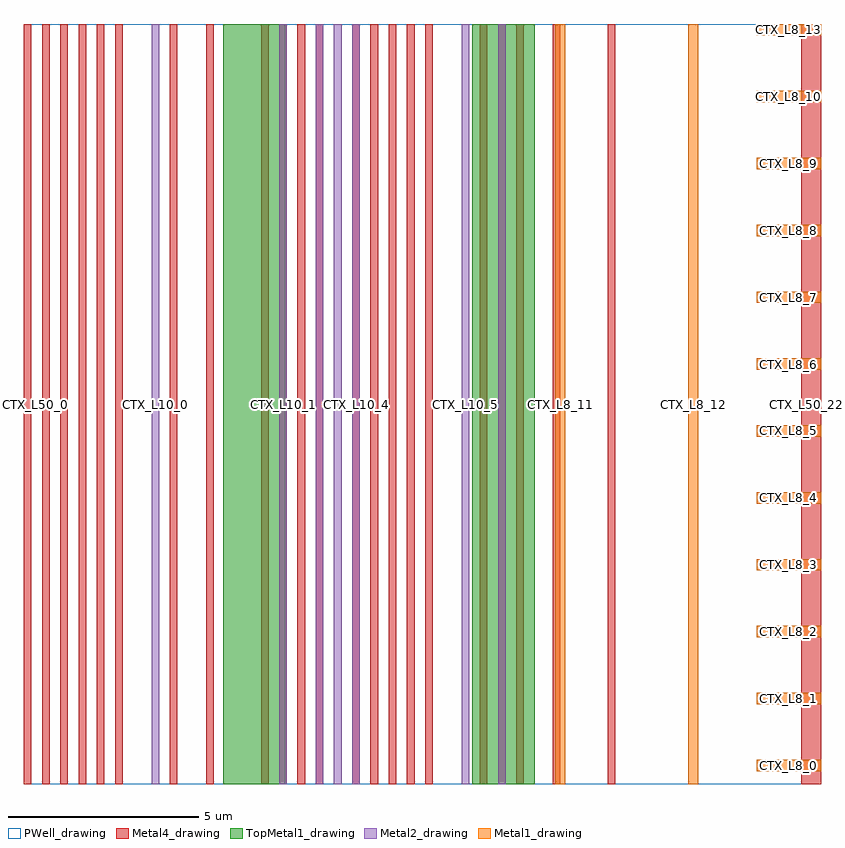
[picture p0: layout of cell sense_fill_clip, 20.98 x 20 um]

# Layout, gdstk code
import gdstk
lib = gdstk.Library(unit=1e-6, precision=1e-09)
def R(c, l, rs):  # rectangles x0, y0, x1, y1
    for r in rs: c.add(gdstk.rectangle(r[:2], r[2:], *l))
def A(c, l, x, y, w, h, nx, ny, dx, dy):  # array of equal rectangles
    R(c, l, [(x+i*dx, y+j*dy, x+i*dx+w, y+j*dy+h) for i in range(nx) for j in range(ny)])
Metal1_drawing = (8, 0)
Metal2_drawing = (10, 0)
PWell_drawing = (46, 0)
Metal4_drawing = (50, 0)
TopMetal1_drawing = (126, 0)

sense_fill_clip = lib.new_cell('sense_fill_clip')
A(sense_fill_clip, Metal1_drawing, 743.02, 696.15, 1.7, 0.3, 1, 12, 0, 1.76)
R(sense_fill_clip, Metal1_drawing, [(737.72,695.81,737.98,715.81), (741.22,695.81,741.48,715.81)])
A(sense_fill_clip, Metal2_drawing, 731.42, 695.81, 0.2, 20, 3, 1, 0.48, 0)
R(sense_fill_clip, Metal2_drawing, [(727.1,695.81,727.3,715.81), (730.46,695.81,730.66,715.81), (735.26,695.81,735.46,715.81), (736.22,695.81,736.42,715.81)])
R(sense_fill_clip, PWell_drawing, [(723.74,695.81,744.72,715.81), (723.74,695.81,744.72,715.81)])
A(sense_fill_clip, Metal4_drawing, 723.74, 695.81, 0.2, 20, 6, 1, 0.48, 0)
A(sense_fill_clip, Metal4_drawing, 729.98, 695.81, 0.2, 20, 4, 1, 0.48, 0)
A(sense_fill_clip, Metal4_drawing, 732.38, 695.81, 0.2, 20, 5, 1, 0.48, 0)
A(sense_fill_clip, Metal4_drawing, 735.74, 695.81, 0.2, 20, 3, 1, 0.48, 0)
R(sense_fill_clip, Metal4_drawing, [(727.58,695.81,727.78,715.81), (728.54,695.81,728.74,715.81), (737.66,695.81,737.86,715.81), (739.1,695.81,739.3,715.81), (744.2,695.81,744.72,715.81)])
R(sense_fill_clip, TopMetal1_drawing, [(728.98,695.81,730.62,715.81), (735.54,695.81,737.18,715.81)])
sense_fill_clip.add(gdstk.Label('CTX_L8_13', (743.87,715.66), layer=8, texttype=25))
sense_fill_clip.add(gdstk.Label('CTX_L8_0', (743.87,696.3), layer=8, texttype=25))
sense_fill_clip.add(gdstk.Label('CTX_L8_1', (743.87,698.06), layer=8, texttype=25))
sense_fill_clip.add(gdstk.Label('CTX_L8_2', (743.87,699.82), layer=8, texttype=25))
sense_fill_clip.add(gdstk.Label('CTX_L8_3', (743.87,701.58), layer=8, texttype=25))
sense_fill_clip.add(gdstk.Label('CTX_L8_4', (743.87,703.34), layer=8, texttype=25))
sense_fill_clip.add(gdstk.Label('CTX_L8_9', (743.87,712.14), layer=8, texttype=25))
sense_fill_clip.add(gdstk.Label('CTX_L8_7', (743.87,708.62), layer=8, texttype=25))
sense_fill_clip.add(gdstk.Label('CTX_L8_5', (743.87,705.1), layer=8, texttype=25))
sense_fill_clip.add(gdstk.Label('CTX_L8_6', (743.87,706.86), layer=8, texttype=25))
sense_fill_clip.add(gdstk.Label('CTX_L8_8', (743.87,710.38), layer=8, texttype=25))
sense_fill_clip.add(gdstk.Label('CTX_L8_10', (743.87,713.9), layer=8, texttype=25))
sense_fill_clip.add(gdstk.Label('CTX_L8_11', (737.85,705.81), layer=8, texttype=25))
sense_fill_clip.add(gdstk.Label('CTX_L8_12', (741.35,705.81), layer=8, texttype=25))
sense_fill_clip.add(gdstk.Label('CTX_L10_4', (732.48,705.81), layer=10, texttype=25))
sense_fill_clip.add(gdstk.Label('CTX_L10_5', (735.36,705.81), layer=10, texttype=25))
sense_fill_clip.add(gdstk.Label('CTX_L10_3', (732,705.81), layer=10, texttype=25))
sense_fill_clip.add(gdstk.Label('CTX_L10_2', (731.52,705.81), layer=10, texttype=25))
sense_fill_clip.add(gdstk.Label('CTX_L10_1', (730.56,705.81), layer=10, texttype=25))
sense_fill_clip.add(gdstk.Label('CTX_L10_6', (736.32,705.81), layer=10, texttype=25))
sense_fill_clip.add(gdstk.Label('CTX_L10_0', (727.2,705.81), layer=10, texttype=25))
sense_fill_clip.add(gdstk.Label('CTX_L50_19', (736.8,705.81), layer=50, texttype=25))
sense_fill_clip.add(gdstk.Label('CTX_L50_18', (736.32,705.81), layer=50, texttype=25))
sense_fill_clip.add(gdstk.Label('CTX_L50_17', (735.84,705.81), layer=50, texttype=25))
sense_fill_clip.add(gdstk.Label('CTX_L50_21', (739.2,705.81), layer=50, texttype=25))
sense_fill_clip.add(gdstk.Label('CTX_L50_16', (734.4,705.81), layer=50, texttype=25))
sense_fill_clip.add(gdstk.Label('CTX_L50_15', (733.92,705.81), layer=50, texttype=25))
sense_fill_clip.add(gdstk.Label('CTX_L50_14', (733.44,705.81), layer=50, texttype=25))
sense_fill_clip.add(gdstk.Label('P', (732.96,705.81), layer=50, texttype=25))
sense_fill_clip.add(gdstk.Label('CTX_L50_10', (731.04,705.81), layer=50, texttype=25))
sense_fill_clip.add(gdstk.Label('CTX_L50_0', (723.84,705.81), layer=50, texttype=25))
sense_fill_clip.add(gdstk.Label('CTX_L50_1', (724.32,705.81), layer=50, texttype=25))
sense_fill_clip.add(gdstk.Label('CTX_L50_2', (724.8,705.81), layer=50, texttype=25))
sense_fill_clip.add(gdstk.Label('CTX_L50_3', (725.28,705.81), layer=50, texttype=25))
sense_fill_clip.add(gdstk.Label('CTX_L50_6', (727.68,705.81), layer=50, texttype=25))
sense_fill_clip.add(gdstk.Label('CTX_L50_4', (725.76,705.81), layer=50, texttype=25))
sense_fill_clip.add(gdstk.Label('CTX_L50_8', (730.08,705.81), layer=50, texttype=25))
sense_fill_clip.add(gdstk.Label('CTX_L50_22', (744.46,705.81), layer=50, texttype=25))
sense_fill_clip.add(gdstk.Label('CTX_L50_5', (726.24,705.81), layer=50, texttype=25))
sense_fill_clip.add(gdstk.Label('CTX_L50_7', (728.64,705.81), layer=50, texttype=25))
sense_fill_clip.add(gdstk.Label('CTX_L50_9', (730.56,705.81), layer=50, texttype=25))
sense_fill_clip.add(gdstk.Label('CTX_L50_20', (737.76,705.81), layer=50, texttype=25))
sense_fill_clip.add(gdstk.Label('CTX_L50_11', (731.52,705.81), layer=50, texttype=25))
sense_fill_clip.add(gdstk.Label('N', (732.48,705.81), layer=50, texttype=25))
sense_fill_clip.add(gdstk.Label('CTX_L126_1', (736.36,705.81), layer=126, texttype=25))
sense_fill_clip.add(gdstk.Label('CTX_L126_0', (729.8,705.81), layer=126, texttype=25))

lib.write_gds('sense_fill_clip.gds')
